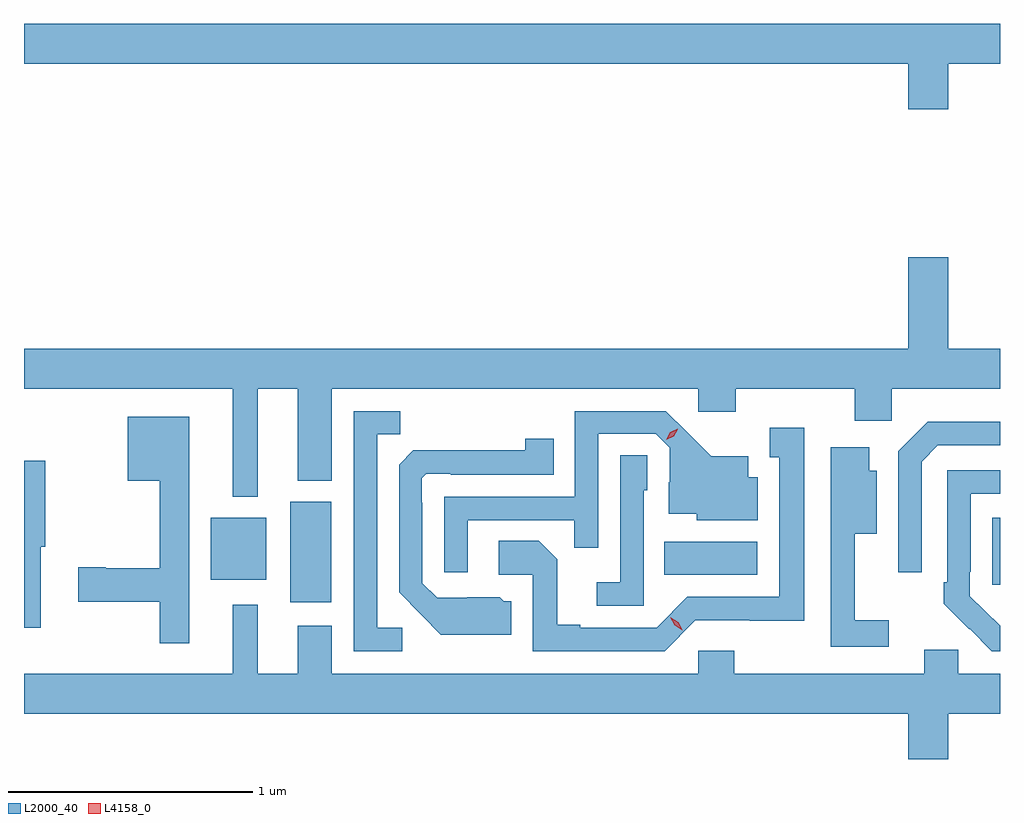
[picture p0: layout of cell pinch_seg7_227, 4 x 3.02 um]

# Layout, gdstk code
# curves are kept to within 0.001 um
import gdstk
lib = gdstk.Library(unit=1e-6, precision=1e-09)
def R(c, l, rs):  # rectangles x0, y0, x1, y1
    for r in rs: c.add(gdstk.rectangle(r[:2], r[2:], *l))
def P(c, l, *ps):  # polygons
    for p in ps: c.add(gdstk.Polygon(p, *l))
L2000_40 = (2000, 40)
L4158_0 = (4158, 0)

pinch_seg7_227 = lib.new_cell('pinch_seg7_227')
R(pinch_seg7_227, L2000_40, [(857.78,1003.737,857.947,1004.149), (860.657,1003.809,860.688,1004.083), (857.453,1003.829,857.68,1004.083), (859.312,1003.85,859.693,1003.984)])
P(pinch_seg7_227, L2000_40, [(860.476,1005.944),(860.688,1005.944),(860.688,1006.108),(856.688,1006.108),(856.688,1005.944),(860.312,1005.944),(860.312,1005.756),(860.476,1005.756)],
  [(857.647,1004.612),(857.81,1004.612),(857.81,1004.234),(857.95,1004.234),(857.95,1004.612),(859.452,1004.612),(859.452,1004.517),(859.604,1004.517),(859.604,1004.612),(860.093,1004.612),(860.093,1004.481),(860.244,1004.481),(860.244,1004.612),(860.688,1004.612),(860.688,1004.776),(860.476,1004.776),(860.476,1005.151),(860.312,1005.151),(860.312,1004.776),(856.688,1004.776),(856.688,1004.612),(857.543,1004.612),(857.543,1004.168),(857.647,1004.168)],
  [(858.507,1004.073),(858.943,1004.073),(858.943,1003.96),(859.041,1003.96),(859.041,1004.427),(859.278,1004.427),(859.335,1004.37),(859.335,1004.228),(859.331,1004.228),(859.331,1004.099),(859.446,1004.099),(859.446,1004.072),(859.696,1004.072),(859.696,1004.248),(859.657,1004.248),(859.657,1004.335),(859.505,1004.335),(859.318,1004.52),(858.945,1004.52),(858.945,1004.169),(858.411,1004.169),(858.411,1003.86),(858.507,1003.86)],
  [(858.238,1003.632),(858.135,1003.632),(858.135,1004.425),(858.231,1004.425),(858.231,1004.52),(858.039,1004.52),(858.039,1003.536),(858.238,1003.536)],
  [(857.365,1004.497),(857.114,1004.497),(857.114,1004.234),(857.244,1004.234),(857.244,1003.875),(857.023,1003.875),(857.023,1003.88),(856.911,1003.88),(856.911,1003.738),(857.244,1003.738),(857.244,1003.569),(857.365,1003.569)],
  [(860.367,1004.313),(860.433,1004.379),(860.688,1004.379),(860.688,1004.476),(860.392,1004.476),(860.271,1004.355),(860.271,1003.86),(860.367,1003.86)],
  [(859.44,1003.662),(859.885,1003.661),(859.885,1004.452),(859.745,1004.452),(859.745,1004.331),(859.784,1004.331),(859.784,1003.758),(859.407,1003.758),(859.281,1003.632),(858.967,1003.632),(858.967,1003.645),(858.873,1003.645),(858.873,1003.912),(858.797,1003.988),(858.633,1003.988),(858.633,1003.848),(858.774,1003.848),(858.774,1003.536),(859.314,1003.536)],
  [(858.685,1003.74),(858.654,1003.74),(858.638,1003.756),(858.381,1003.755),(858.321,1003.815),(858.321,1004.144),(858.318,1004.144),(858.318,1004.244),(858.336,1004.262),(858.436,1004.262),(858.436,1004.259),(858.86,1004.259),(858.86,1004.407),(858.742,1004.407),(858.742,1004.36),(858.284,1004.359),(858.225,1004.3),(858.225,1003.778),(858.397,1003.604),(858.685,1003.604)],
  [(860.233,1003.663),(860.093,1003.663),(860.093,1004.018),(860.182,1004.018),(860.182,1004.275),(860.152,1004.275),(860.152,1004.371),(859.994,1004.371),(859.994,1004.122),(859.995,1004.122),(859.995,1003.554),(860.233,1003.554)],
  [(859.227,1004.196),(859.242,1004.196),(859.242,1004.339),(859.131,1004.339),(859.131,1003.819),(859.035,1003.819),(859.035,1003.722),(859.227,1003.722)],
  [(856.756,1003.963),(856.775,1003.963),(856.775,1004.317),(856.688,1004.317),(856.688,1003.632),(856.756,1003.632)],
  [(860.688,1003.639),(860.565,1003.761),(860.565,1003.861),(860.568,1003.861),(860.568,1004.181),(860.688,1004.181),(860.688,1004.277),(860.472,1004.277),(860.472,1003.819),(860.457,1003.819),(860.457,1003.731),(860.654,1003.536),(860.688,1003.536)],
  [(860.476,1003.28),(860.688,1003.28),(860.688,1003.444),(860.517,1003.444),(860.517,1003.542),(860.378,1003.542),(860.378,1003.444),(859.599,1003.444),(859.599,1003.537),(859.452,1003.537),(859.452,1003.444),(857.95,1003.444),(857.95,1003.639),(857.81,1003.639),(857.81,1003.444),(857.647,1003.444),(857.647,1003.726),(857.543,1003.726),(857.543,1003.444),(856.688,1003.444),(856.688,1003.28),(860.312,1003.28),(860.312,1003.092),(860.476,1003.092)])
P(pinch_seg7_227, L4158_0, [(859.386,1003.622),(859.354,1003.642),(859.337,1003.674),(859.337,1003.675),(859.337,1003.675),(859.369,1003.655),(859.386,1003.623),(859.386,1003.622)],
  [(859.32,1004.402),(859.32,1004.402),(859.337,1004.432),(859.368,1004.447),(859.368,1004.447),(859.368,1004.446),(859.35,1004.417),(859.32,1004.402)])

lib.write_gds('pinch_seg7_227.gds')
